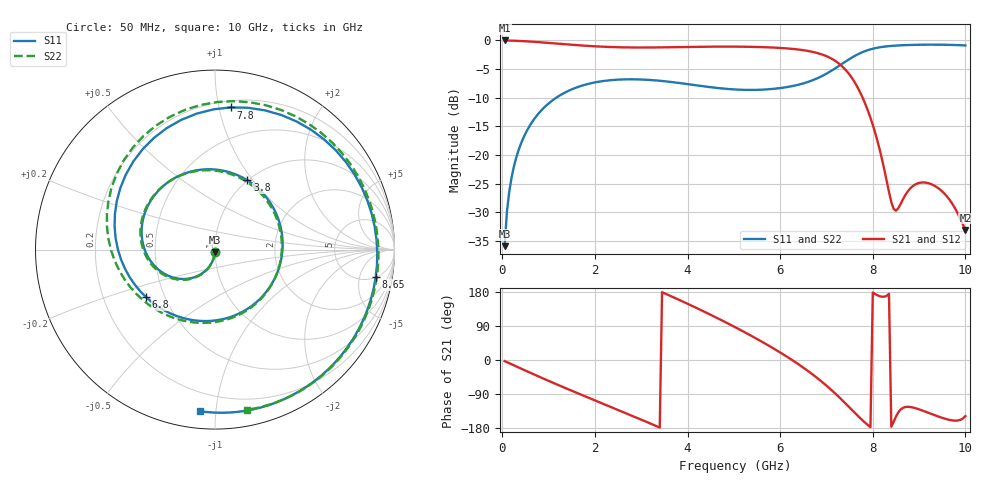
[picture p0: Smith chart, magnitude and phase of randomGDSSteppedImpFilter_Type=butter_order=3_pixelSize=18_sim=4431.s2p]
! freq	dB(S11)	phase(S11)	dB(S12)	phase(S12)
!  dB(S21)	phase(S21)	dB(S22)	phase(S22)
!S-par simulation data
#  GHz  S  DB  R 50
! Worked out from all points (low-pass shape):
!   200 points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, 50 MHz to 10 GHz, reference 50 ohm
!   highest |S21| = 0.00 dB at 50 MHz (marker M1); lowest = -33.1 dB at 10 GHz (marker M2)
!   |S21| within 3 dB of the highest: start of sweep to 7.068 GHz
!   lowest |S11| = -35.9 dB at 50 MHz (marker M3), VSWR 1.03, Z = 49.9 - j1.59 ohm
!   |S11| at or under -10 dB: start of sweep to 1.166 GHz
!   |S22| runs from -35.9 to -0.7 dB; largest |S21 - S12| = 0
!   S11 on the Smith chart (normalised r, x): 50 MHz: 1.00, -0.03; 3.8 GHz: 1.00, +0.94; 6.8 GHz: 0.39, -0.27; 7.8 GHz: 0.25, +1.09; 8.65 GHz: 5, -9; 10 GHz: 0.09, -0.91
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0.05  -35.95 -92.8  -0.00 -2.8  -0.00 -2.8  -35.95 -92.7
0.2  -23.96 -101.7  -0.04 -11.3  -0.04 -11.3  -23.96 -101.4
0.5  -16.27 -119.0  -0.14 -28.0  -0.14 -28.0  -16.27 -118.1
1.1  -10.37 -152.0  -0.49 -60.4  -0.49 -60.4  -10.37 -149.9
1.75  -7.83 173.8  -0.90 -93.9  -0.90 -93.9  -7.83 177.2
2.65  -6.80 127.3  -1.21 -139.2  -1.21 -139.2  -6.80 133.0
3.4  -7.05 87.2  -1.22 -178.4  -1.22 -178.4  -7.04 95.2
3.8  -7.41 64.9  -1.17 159.7  -1.17 159.7  -7.41 74.1
4.5  -8.17 24.1  -1.09 119.2  -1.09 119.2  -8.17 34.7
5.05  -8.58 -9.6  -1.08 85.2  -1.08 85.2  -8.58 1.1
5.5  -8.64 -38.7  -1.14 55.5  -1.14 55.5  -8.63 -28.8
6  -8.33 -74.1  -1.31 19.9  -1.31 19.9  -8.31 -65.4
6.7  -6.96 -134.9  -2.00 -38.0  -2.00 -38.0  -6.90 -125.4
6.8  -6.62 -145.4  -2.19 -47.4  -2.19 -47.4  -6.56 -135.3
7.35  -4.02 146.9  -4.61 -107.2  -4.61 -107.2  -3.97 162.0
7.8  -1.97 83.7  -10.35 -161.6  -10.35 -161.6  -1.98 102.2
8.05  -1.35 51.3  -16.09 174.2  -16.09 174.2  -1.39 70.6
8.35  -0.99 18.0  -26.47 174.7  -26.47 174.7  -1.03 37.3
8.5  -0.90 3.6  -29.74 -149.7  -29.74 -149.7  -0.93 22.7
8.65  -0.83 -9.6  -27.79 -126.4  -27.79 -126.4  -0.85 9.2
9.3  -0.74 -56.1  -25.25 -143.9  -25.25 -143.9  -0.72 -38.8
10  -0.87 -95.4  -33.11 -148.0  -33.11 -148.0  -0.82 -78.8
